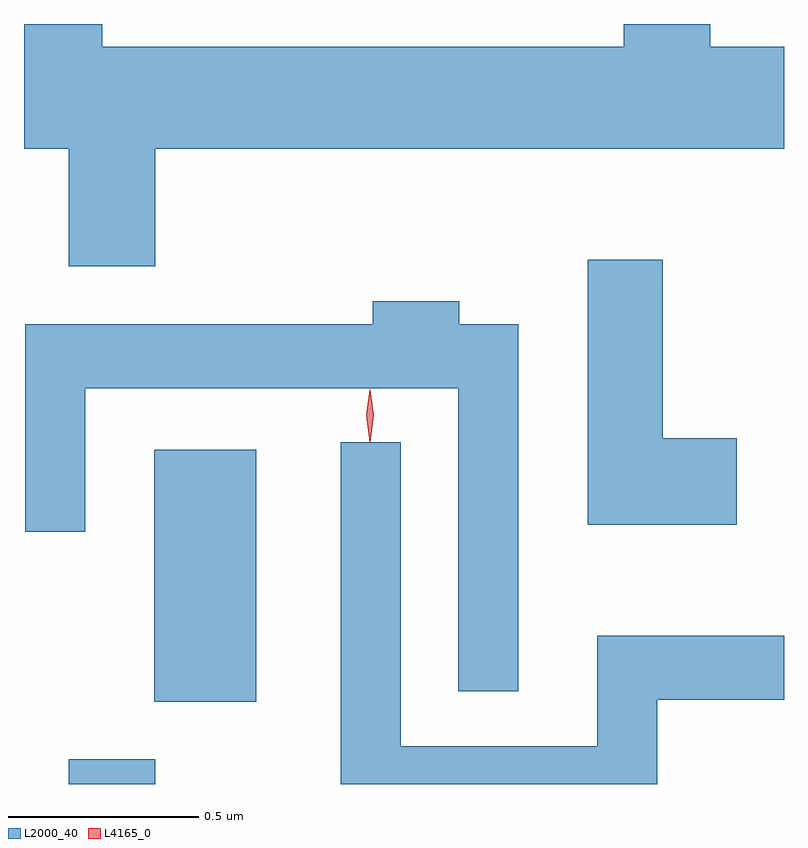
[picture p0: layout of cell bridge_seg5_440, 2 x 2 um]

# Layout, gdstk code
import gdstk
lib = gdstk.Library(unit=1e-6, precision=1e-09)
def R(c, l, rs):  # rectangles x0, y0, x1, y1
    for r in rs: c.add(gdstk.rectangle(r[:2], r[2:], *l))
def P(c, l, *ps):  # polygons
    for p in ps: c.add(gdstk.Polygon(p, *l))
L2000_40 = (2000, 40)
L4165_0 = (4165, 0)

bridge_seg5_440 = lib.new_cell('bridge_seg5_440')
R(bridge_seg5_440, L2000_40, [(548.411,1519.504,548.639,1519.569), (548.636,1519.721,548.904,1520.384)])
P(bridge_seg5_440, L2000_40, [(548.639,1521.176),(550.293,1521.176),(550.293,1521.444),(550.099,1521.444),(550.099,1521.504),(549.871,1521.504),(549.871,1521.444),(548.499,1521.444),(548.499,1521.504),(548.293,1521.504),(548.293,1521.176),(548.411,1521.176),(548.411,1520.866),(548.639,1520.866)],
  [(550.169,1520.414),(549.974,1520.414),(549.974,1520.884),(549.776,1520.884),(549.776,1520.186),(550.169,1520.186)],
  [(549.594,1520.714),(549.439,1520.714),(549.439,1520.774),(549.211,1520.774),(549.211,1520.714),(548.296,1520.714),(548.296,1520.168),(548.454,1520.168),(548.454,1520.546),(549.436,1520.546),(549.436,1519.748),(549.594,1519.748)],
  [(549.959,1519.726),(550.293,1519.726),(550.293,1519.894),(549.801,1519.894),(549.801,1519.604),(549.284,1519.604),(549.284,1520.403),(549.126,1520.403),(549.126,1519.504),(549.959,1519.504)])
P(bridge_seg5_440, L4165_0, [(549.203,1520.407),(549.194,1520.474),(549.203,1520.54),(549.204,1520.54),(549.204,1520.54),(549.214,1520.474),(549.204,1520.407),(549.204,1520.407)],
  [(549.203,1520.404),(549.194,1520.474),(549.203,1520.542),(549.204,1520.543),(549.204,1520.542),(549.214,1520.474),(549.204,1520.404),(549.204,1520.404)])

lib.write_gds('bridge_seg5_440.gds')
